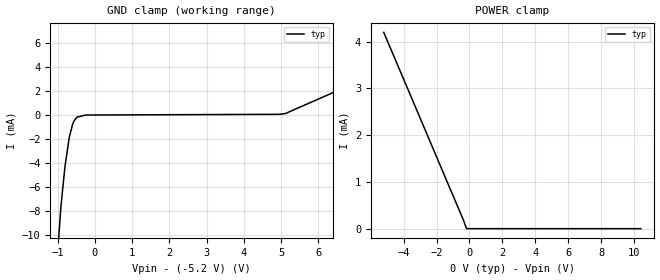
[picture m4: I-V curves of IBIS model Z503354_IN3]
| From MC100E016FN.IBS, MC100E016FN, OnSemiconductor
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| (C) COPYRIGHT 1993-2000
| MENTOR GRAPHICS CORPORATION
| ICX STANDARD LIBRARY, ICX PROJECT MODELING,
| ICX CUSTOM MODELING, ICX VENDOR MODEL
| ALL RIGHTS RESERVED.
| THE FOLLOWING ARE TRADEMARKS OR SERVICE MARKS OF
| MENTOR GRAPHICS CORPORATION:ICX (R), ICX STANDARD
| LIBRARY(R), ICX PROJECT MODELING(R), ICX CUSTOM
| MODELING(R), qualityIBIS(TM), MODELVIEWER(TM),
| AND MODELEDITOR(TM)
| ALL COPIES OF SOFTWARE, INCLUDING BUT NOT LIMITED TO
| ANY MODIFICATIONS, ENHANCEMENTS OR DERIVATIVE WORKS,
| MUST CONTAIN ALL MENTOR GRAPHICS CORPORATION'S
| NOTICES AND LEGENDS, INCLUDING THOSE EMBEDDED IN
| SOFTWARE AND THOSE AFFIXED TO SOFTWARE MEDIUM
| AND CONTAINER, AS RECEIVED FROM MENTOR GRAPHICS
| CORPORATION.
| Model Application Version 1.89 2/18/99.
[Model] Z503354_IN3
Model_type Input_ECL
Vinl = -1.475V
Vinh = -1.165V
C_comp 4.000pF NA NA
| variable typ   min   max
[Voltage Range] -5.200V NA NA
[GND Clamp Reference] -5.200V NA NA
[POWER Clamp Reference] 0.000V NA NA
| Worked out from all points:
|   GND clamp passes 1 mA (typ) near -0.62 V on its own axis
[GND Clamp]
-5.2V     -269.6mA   NA         NA
-1.065V   -14.23mA   NA         NA
-913mV    -7.616mA   NA         NA
-806mV    -4.328mA   NA         NA
-689mV    -1.856mA   NA         NA
-601mV    -805.5uA   NA         NA
-566mV    -535.5uA   NA         NA
-486mV    -200.8uA   NA         NA
-243mV    -19.72uA   NA         NA
4.933V    40.72uA    NA         NA
5.112V    98.76uA    NA         NA
10.4V     7.282mA    NA         NA
[POWER Clamp]
-5.2V     4.195mA    NA         NA
-361.7mV  178.3uA    NA         NA
-180.8mV  0A         NA         NA
10.4V     0A         NA         NA
